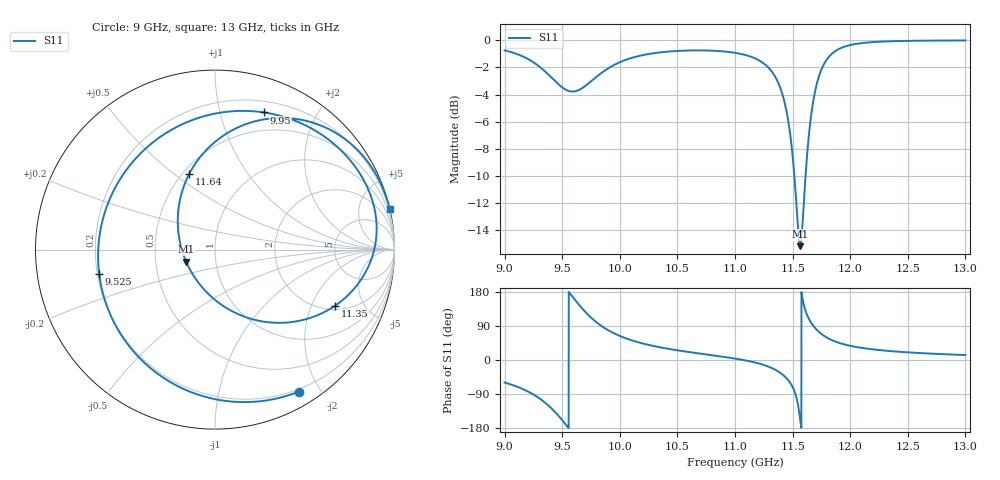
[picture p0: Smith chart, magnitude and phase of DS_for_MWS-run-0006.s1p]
! TOUCHSTONE file generated by CST DESIGN STUDIO
! Date and time: Tue Feb  4 17:48:17 2025
! Project name: C:\Work\MatlabApps\UnitCellOptimizationMatlab\CST\unitcell.cst
! Tree item: Tasks\Sweep1\SPara1\S-Parameters
! Header version: 2024
! Port assignment regex: !\s*Touchstone port\s*([0-9]+)\s*=\s*(CST MWS port|CST DES external port|CST DES block port)\s*(.+)\s* \(\"(.*)\"\)(\s*mode\s*([0-9]+))?.*
! Touchstone port assignment:
! Touchstone port 1 = CST DES external port 1 ("")
# GHz S MA R 50
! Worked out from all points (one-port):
!   4001 points, 9 GHz to 13 GHz, reference 50 ohm
!   lowest |S11| = -15.2 dB at 11.57 GHz (marker M1), VSWR 1.42, Z = 35.9 - j5.03 ohm
!   |S11| at or under -10 dB: 11.52 GHz to 11.61 GHz (97.03 MHz wide, 0.839 % of centre)
!   S11 on the Smith chart (normalised r, x): 9 GHz: 0.17, -1.74; 9.525 GHz: 0.21, -0.10; 9.95 GHz: 0.31, +1.37; 11.35 GHz: 2.19, -3.01; 11.64 GHz: 0.54, +0.57; 13 GHz: 0.03, +8.75
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9  0.9186 -59.5
9.145  0.8773 -74.9
9.295  0.8044 -99.8
9.397  0.7359 -124.8
9.5  0.6705 -158.7
9.525  0.6596 -168.0
9.618  0.6498 156.1
9.733  0.6965 116.8
9.83  0.7524 92.1
9.95  0.8113 70.4
10  0.8306 63.5
10.215  0.8849 42.3
10.5  0.914 25.6
11  0.8995 3.8
11.209  0.8436 -9.4
11.346  0.7378 -25.1
11.44  0.5671 -45.8
11.5  0.3754 -71.3
11.566  0.1742 -157.0
11.603  0.2746 138.9
11.641  0.4459 108.7
11.694  0.6451 84.9
11.755  0.7893 67.6
11.862  0.9073 49.8
12  0.961 37.5
12.197  0.9853 28.0
12.5  0.9956 20.2
13  0.9992 13.0
